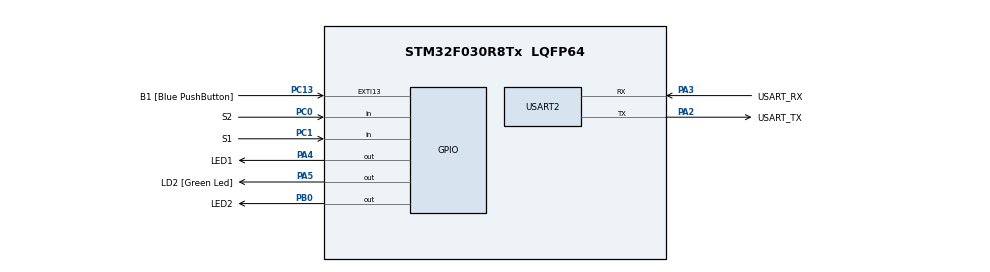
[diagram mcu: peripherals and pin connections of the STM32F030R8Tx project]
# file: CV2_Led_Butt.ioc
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Mcu.Family=STM32F0
Mcu.Name=STM32F030R8Tx
Mcu.Package=LQFP64
PA13.GPIO_Label=TMS
PA13.Mode=Serial_Wire
PA13.Signal=SYS_SWDIO
PA14.GPIO_Label=TCK
PA14.Mode=Serial_Wire
PA14.Signal=SYS_SWCLK
PA2.GPIO_Label=USART_TX
PA2.GPIO_Mode=GPIO_MODE_AF_PP
PA2.GPIO_PuPd=GPIO_NOPULL
PA2.GPIO_Speed=GPIO_SPEED_FREQ_LOW
PA2.Mode=Asynchronous
PA2.Signal=USART2_TX
PA3.GPIO_Label=USART_RX
PA3.GPIO_Mode=GPIO_MODE_AF_PP
PA3.GPIO_PuPd=GPIO_NOPULL
PA3.GPIO_Speed=GPIO_SPEED_FREQ_LOW
PA3.Mode=Asynchronous
PA3.Signal=USART2_RX
PA4.GPIO_Label=LED1
PA4.Signal=GPIO_Output
PA5.GPIO_Label=LD2 [Green Led]
PA5.GPIO_Mode=GPIO_MODE_OUTPUT_PP
PA5.GPIO_PuPd=GPIO_NOPULL
PA5.GPIO_Speed=GPIO_SPEED_FREQ_LOW
PA5.Signal=GPIO_Output
PB0.GPIO_Label=LED2
PB0.Signal=GPIO_Output
PC0.GPIO_Label=S2
PC0.GPIO_PuPd=GPIO_PULLUP
PC0.Signal=GPIO_Input
PC1.GPIO_Label=S1
PC1.GPIO_PuPd=GPIO_PULLUP
PC1.Signal=GPIO_Input
PC13.GPIO_Label=B1 [Blue PushButton]
PC13.GPIO_ModeDefaultEXTI=GPIO_MODE_IT_FALLING
PC13.Signal=GPXTI13
PC14-OSC32_IN.Mode=LSE-External-Oscillator
PC14-OSC32_IN.Signal=RCC_OSC32_IN
PC15-OSC32_OUT.Mode=LSE-External-Oscillator
PC15-OSC32_OUT.Signal=RCC_OSC32_OUT
PF0-OSC_IN.Mode=HSE-External-Clock-Source
PF0-OSC_IN.Signal=RCC_OSC_IN
PF1-OSC_OUT.Signal=RCC_OSC_OUT
ProjectManager.HeapSize=0x200
ProjectManager.StackSize=0x400
ProjectManager.TargetToolchain=STM32CubeIDE
RCC.AHBFreq_Value=48000000
RCC.APB1Freq_Value=48000000
RCC.APB1TimFreq_Value=48000000
RCC.HCLKFreq_Value=48000000
RCC.PLLMUL=RCC_PLL_MUL12
RCC.SYSCLKFreq_VALUE=48000000
RCC.SYSCLKSource=RCC_SYSCLKSOURCE_PLLCLK
USART2.VirtualMode-Asynchronous=VM_ASYNC
board=NUCLEO-F030R8

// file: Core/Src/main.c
/* USER CODE BEGIN Header */
/**
  ******************************************************************************
  * @file           : main.c
  * @brief          : Main program body
  ******************************************************************************
  * @attention
  *
  * Copyright (c) 2023 STMicroelectronics.
  * All rights reserved.
  *
  * This software is licensed under terms that can be found in the LICENSE file
  * in the root directory of this software component.
  * If no LICENSE file comes with this software, it is provided AS-IS.
  *
  ******************************************************************************
  */
/* USER CODE END Header */
#include "main.h"

/* USER CODE BEGIN PD */
#define LED_TIME_BLINK 300
#define LED_TIME_SHORT 100
#define LED_TIME_LONG 1000
/* USER CODE END PD */

void SystemClock_Config(void);
static void MX_GPIO_Init(void);
static void MX_USART2_UART_Init(void);

/* USER CODE BEGIN 0 */
volatile uint32_t Tick;

void blikac(void)
{

	static uint32_t delay;

	if (Tick > delay + LED_TIME_BLINK)
	{
		LL_GPIO_TogglePin(LED1_GPIO_Port, LED1_Pin);
		delay = Tick;
	}
}

void tlacitka(void)
{
	static uint16_t debounce = 0xFFFF;
	static uint8_t delay = 5;
	static uint8_t flag = 0;

	/*___________________Zhasnuti_LED__________________*/
	static uint32_t off_time;

	if (Tick > off_time) {
		LL_GPIO_ResetOutputPin(LED2_GPIO_Port, LED2_Pin);
	}
	/*___________________Tlacitko_S2___________________*/
	static uint32_t old_s2;
	uint32_t new_s2 = LL_GPIO_IsInputPinSet(S2_GPIO_Port, S2_Pin);
	/*
	if (old_s2 && !new_s2) { // falling edge
		off_time = Tick + LED_TIME_SHORT;
		LL_GPIO_SetOutputPin(LED2_GPIO_Port, LED2_Pin);
	}
	old_s2 = new_s2;*/

	/*___________________Tlacitko_S1___________________*/

	//static uint32_t old_s1;
	uint32_t new_s1 = LL_GPIO_IsInputPinSet(S1_GPIO_Port, S1_Pin);
	/*
	if (old_s1 && !new_s1) {
		off_time = Tick + LED_TIME_LONG;		// 1s
		LL_GPIO_SetOutputPin(LED2_GPIO_Port, LED2_Pin);
	}
	old_s1 = new_s1;*/

	/*___________________Zakmit________________________*/
	if (Tick > delay + 5)
	{
		debounce <<= 1;
		if (!new_s2) {
			debounce |= 0x0001;
			if (debounce == 0x7FFF) {
				flag = 1;
			}
		}
		delay = Tick;
	}

	if (flag == 1){
			LL_GPIO_SetOutputPin(LED2_GPIO_Port, LED2_Pin);
			debounce = 0xFFFF;
			off_time = Tick + LED_TIME_LONG;		// 1s
			flag = 0;
	}

	/*_____Resetovani pomoci S1____*/
	if (!new_s1) {
		flag = 0;
	}

}

/* USER CODE END 0 */

int main(void)
{

  /* MCU Configuration--------------------------------------------------------*/

  /* Reset of all peripherals, Initializes the Flash interface and the Systick. */
  LL_APB1_GRP2_EnableClock(LL_APB1_GRP2_PERIPH_SYSCFG);
  LL_APB1_GRP1_EnableClock(LL_APB1_GRP1_PERIPH_PWR);

  /* Configure the system clock */
  SystemClock_Config();

  /* Initialize all configured peripherals */
  MX_GPIO_Init();
  MX_USART2_UART_Init();
  /* USER CODE BEGIN 2 */
  LL_SYSTICK_EnableIT();

  /* USER CODE END 2 */

  /* Infinite loop */
  while (1)
  {
	  blikac();
	  tlacitka();
  }
}

void SystemClock_Config(void)
{
  LL_FLASH_SetLatency(LL_FLASH_LATENCY_1);
  while(LL_FLASH_GetLatency() != LL_FLASH_LATENCY_1)
  {
  }
  LL_RCC_HSI_Enable();

   /* Wait till HSI is ready */
  while(LL_RCC_HSI_IsReady() != 1)
  {

  }
  LL_RCC_HSI_SetCalibTrimming(16);
  LL_RCC_PLL_ConfigDomain_SYS(LL_RCC_PLLSOURCE_HSI_DIV_2, LL_RCC_PLL_MUL_12);
  LL_RCC_PLL_Enable();

   /* Wait till PLL is ready */
  while(LL_RCC_PLL_IsReady() != 1)
  {

  }
  LL_RCC_SetAHBPrescaler(LL_RCC_SYSCLK_DIV_1);
  LL_RCC_SetAPB1Prescaler(LL_RCC_APB1_DIV_1);
  LL_RCC_SetSysClkSource(LL_RCC_SYS_CLKSOURCE_PLL);

   /* Wait till System clock is ready */
  while(LL_RCC_GetSysClkSource() != LL_RCC_SYS_CLKSOURCE_STATUS_PLL)
  {

  }
  LL_Init1msTick(48000000);
  LL_SetSystemCoreClock(48000000);
}

static void MX_USART2_UART_Init(void)
{

  LL_USART_InitTypeDef USART_InitStruct = {0};

  LL_GPIO_InitTypeDef GPIO_InitStruct = {0};

  /* Peripheral clock enable */
  LL_APB1_GRP1_EnableClock(LL_APB1_GRP1_PERIPH_USART2);

  LL_AHB1_GRP1_EnableClock(LL_AHB1_GRP1_PERIPH_GPIOA);
  /**USART2 GPIO Configuration
  PA2   ------> USART2_TX
  PA3   ------> USART2_RX
  */
  GPIO_InitStruct.Pin = USART_TX_Pin;
  GPIO_InitStruct.Mode = LL_GPIO_MODE_ALTERNATE;
  GPIO_InitStruct.Speed = LL_GPIO_SPEED_FREQ_LOW;
  GPIO_InitStruct.OutputType = LL_GPIO_OUTPUT_PUSHPULL;
  GPIO_InitStruct.Pull = LL_GPIO_PULL_NO;
  GPIO_InitStruct.Alternate = LL_GPIO_AF_1;
  LL_GPIO_Init(USART_TX_GPIO_Port, &GPIO_InitStruct);

  GPIO_InitStruct.Pin = USART_RX_Pin;
  GPIO_InitStruct.Mode = LL_GPIO_MODE_ALTERNATE;
  GPIO_InitStruct.Speed = LL_GPIO_SPEED_FREQ_LOW;
  GPIO_InitStruct.OutputType = LL_GPIO_OUTPUT_PUSHPULL;
  GPIO_InitStruct.Pull = LL_GPIO_PULL_NO;
  GPIO_InitStruct.Alternate = LL_GPIO_AF_1;
  LL_GPIO_Init(USART_RX_GPIO_Port, &GPIO_InitStruct);

  USART_InitStruct.BaudRate = 38400;
  USART_InitStruct.DataWidth = LL_USART_DATAWIDTH_8B;
  USART_InitStruct.StopBits = LL_USART_STOPBITS_1;
  USART_InitStruct.Parity = LL_USART_PARITY_NONE;
  USART_InitStruct.TransferDirection = LL_USART_DIRECTION_TX_RX;
  USART_InitStruct.HardwareFlowControl = LL_USART_HWCONTROL_NONE;
  USART_InitStruct.OverSampling = LL_USART_OVERSAMPLING_16;
  LL_USART_Init(USART2, &USART_InitStruct);
  LL_USART_DisableIT_CTS(USART2);
  LL_USART_ConfigAsyncMode(USART2);
  LL_USART_Enable(USART2);

}

static void MX_GPIO_Init(void)
{
  LL_EXTI_InitTypeDef EXTI_InitStruct = {0};
  LL_GPIO_InitTypeDef GPIO_InitStruct = {0};

  /* GPIO Ports Clock Enable */
  LL_AHB1_GRP1_EnableClock(LL_AHB1_GRP1_PERIPH_GPIOC);
  LL_AHB1_GRP1_EnableClock(LL_AHB1_GRP1_PERIPH_GPIOF);
  LL_AHB1_GRP1_EnableClock(LL_AHB1_GRP1_PERIPH_GPIOA);
  LL_AHB1_GRP1_EnableClock(LL_AHB1_GRP1_PERIPH_GPIOB);

  /**/
  LL_GPIO_ResetOutputPin(LED1_GPIO_Port, LED1_Pin);

  /**/
  LL_GPIO_ResetOutputPin(LD2_GPIO_Port, LD2_Pin);

  /**/
  LL_GPIO_ResetOutputPin(LED2_GPIO_Port, LED2_Pin);

  /**/
  LL_SYSCFG_SetEXTISource(LL_SYSCFG_EXTI_PORTC, LL_SYSCFG_EXTI_LINE13);

  /**/
  LL_GPIO_SetPinPull(B1_GPIO_Port, B1_Pin, LL_GPIO_PULL_NO);

  /**/
  LL_GPIO_SetPinMode(B1_GPIO_Port, B1_Pin, LL_GPIO_MODE_INPUT);

  /**/
  EXTI_InitStruct.Line_0_31 = LL_EXTI_LINE_13;
  EXTI_InitStruct.LineCommand = ENABLE;
  EXTI_InitStruct.Mode = LL_EXTI_MODE_IT;
  EXTI_InitStruct.Trigger = LL_EXTI_TRIGGER_FALLING;
  LL_EXTI_Init(&EXTI_InitStruct);

  /**/
  GPIO_InitStruct.Pin = S2_Pin;
  GPIO_InitStruct.Mode = LL_GPIO_MODE_INPUT;
  GPIO_InitStruct.Pull = LL_GPIO_PULL_UP;
  LL_GPIO_Init(S2_GPIO_Port, &GPIO_InitStruct);

  /**/
  GPIO_InitStruct.Pin = S1_Pin;
  GPIO_InitStruct.Mode = LL_GPIO_MODE_INPUT;
  GPIO_InitStruct.Pull = LL_GPIO_PULL_UP;
  LL_GPIO_Init(S1_GPIO_Port, &GPIO_InitStruct);

  /**/
  GPIO_InitStruct.Pin = LED1_Pin;
  GPIO_InitStruct.Mode = LL_GPIO_MODE_OUTPUT;
  GPIO_InitStruct.Speed = LL_GPIO_SPEED_FREQ_LOW;
  GPIO_InitStruct.OutputType = LL_GPIO_OUTPUT_PUSHPULL;
  GPIO_InitStruct.Pull = LL_GPIO_PULL_NO;
  LL_GPIO_Init(LED1_GPIO_Port, &GPIO_InitStruct);

  /**/
  GPIO_InitStruct.Pin = LD2_Pin;
  GPIO_InitStruct.Mode = LL_GPIO_MODE_OUTPUT;
  GPIO_InitStruct.Speed = LL_GPIO_SPEED_FREQ_LOW;
  GPIO_InitStruct.OutputType = LL_GPIO_OUTPUT_PUSHPULL;
  GPIO_InitStruct.Pull = LL_GPIO_PULL_NO;
  LL_GPIO_Init(LD2_GPIO_Port, &GPIO_InitStruct);

  /**/
  GPIO_InitStruct.Pin = LED2_Pin;
  GPIO_InitStruct.Mode = LL_GPIO_MODE_OUTPUT;
  GPIO_InitStruct.Speed = LL_GPIO_SPEED_FREQ_LOW;
  GPIO_InitStruct.OutputType = LL_GPIO_OUTPUT_PUSHPULL;
  GPIO_InitStruct.Pull = LL_GPIO_PULL_NO;
  LL_GPIO_Init(LED2_GPIO_Port, &GPIO_InitStruct);

}

void Error_Handler(void)
{
  __disable_irq();
  while (1)
  {
  }
}
